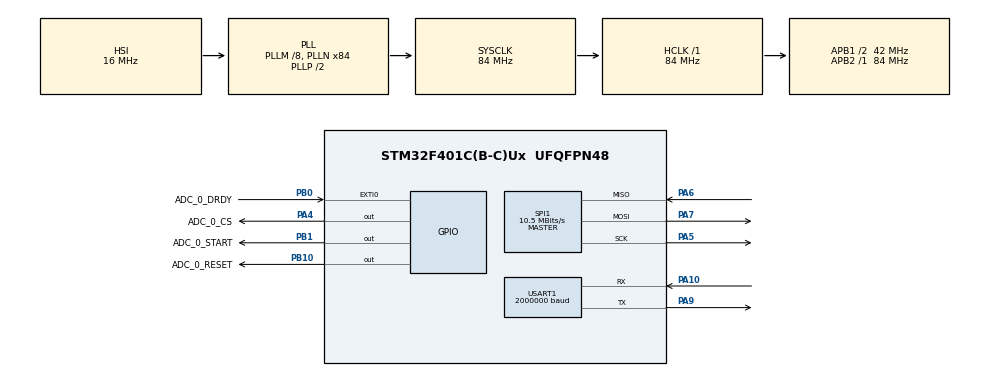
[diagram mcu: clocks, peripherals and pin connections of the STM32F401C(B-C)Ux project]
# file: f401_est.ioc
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Dma.Request0=USART1_RX
Dma.Request1=USART1_TX
Dma.USART1_RX.0.Direction=DMA_PERIPH_TO_MEMORY
Dma.USART1_RX.0.FIFOMode=DMA_FIFOMODE_DISABLE
Dma.USART1_RX.0.Instance=DMA2_Stream2
Dma.USART1_RX.0.MemDataAlignment=DMA_MDATAALIGN_BYTE
Dma.USART1_RX.0.MemInc=DMA_MINC_ENABLE
Dma.USART1_RX.0.Mode=DMA_CIRCULAR
Dma.USART1_RX.0.PeriphDataAlignment=DMA_PDATAALIGN_BYTE
Dma.USART1_RX.0.PeriphInc=DMA_PINC_DISABLE
Dma.USART1_RX.0.Priority=DMA_PRIORITY_LOW
Dma.USART1_TX.1.Direction=DMA_MEMORY_TO_PERIPH
Dma.USART1_TX.1.FIFOMode=DMA_FIFOMODE_DISABLE
Dma.USART1_TX.1.Instance=DMA2_Stream7
Dma.USART1_TX.1.MemDataAlignment=DMA_MDATAALIGN_BYTE
Dma.USART1_TX.1.MemInc=DMA_MINC_ENABLE
Dma.USART1_TX.1.Mode=DMA_NORMAL
Dma.USART1_TX.1.PeriphDataAlignment=DMA_PDATAALIGN_BYTE
Dma.USART1_TX.1.PeriphInc=DMA_PINC_DISABLE
Dma.USART1_TX.1.Priority=DMA_PRIORITY_LOW
Mcu.Family=STM32F4
Mcu.Name=STM32F401C(B-C)Ux
Mcu.Package=UFQFPN48
NVIC.DMA2_Stream2_IRQn=true\:0\:0\:false\:false\:true\:false
NVIC.DMA2_Stream7_IRQn=true\:0\:0\:false\:false\:true\:false
NVIC.EXTI0_IRQn=true\:0\:0\:false\:false\:true\:true
NVIC.PriorityGroup=NVIC_PRIORITYGROUP_4
NVIC.SPI1_IRQn=true\:0\:0\:false\:false\:true\:true
NVIC.USART1_IRQn=true\:0\:0\:false\:false\:true\:true
PA10.Mode=Asynchronous
PA10.Signal=USART1_RX
PA4.GPIO_Label=ADC_0_CS
PA4.PinState=GPIO_PIN_SET
PA4.Signal=GPIO_Output
PA5.Mode=Full_Duplex_Master
PA5.Signal=SPI1_SCK
PA6.Mode=Full_Duplex_Master
PA6.Signal=SPI1_MISO
PA7.Mode=Full_Duplex_Master
PA7.Signal=SPI1_MOSI
PA9.Mode=Asynchronous
PA9.Signal=USART1_TX
PB0.GPIO_Label=ADC_0_DRDY
PB0.GPIO_ModeDefaultEXTI=GPIO_MODE_IT_FALLING
PB0.GPIO_PuPd=GPIO_PULLUP
PB0.Signal=GPXTI0
PB1.GPIO_Label=ADC_0_START
PB1.Signal=GPIO_Output
PB10.GPIO_Label=ADC_0_RESET
PB10.PinState=GPIO_PIN_SET
PB10.Signal=GPIO_Output
ProjectManager.HeapSize=0x200
ProjectManager.StackSize=0x400
ProjectManager.TargetToolchain=MDK-ARM V5
RCC.48MHZClocksFreq_Value=42000000
RCC.AHBFreq_Value=84000000
RCC.APB1CLKDivider=RCC_HCLK_DIV2
RCC.APB1Freq_Value=42000000
RCC.APB1TimFreq_Value=84000000
RCC.APB2Freq_Value=84000000
RCC.APB2TimFreq_Value=84000000
RCC.CortexFreq_Value=84000000
RCC.HCLKFreq_Value=84000000
RCC.HSE_VALUE=25000000
RCC.HSI_VALUE=16000000
RCC.LSE_VALUE=32768
RCC.PLLM=8
RCC.PLLN=84
RCC.SYSCLKFreq_VALUE=84000000
RCC.SYSCLKSource=RCC_SYSCLKSOURCE_PLLCLK
RCC.VCOOutputFreq_Value=168000000
SPI1.BaudRatePrescaler=SPI_BAUDRATEPRESCALER_8
SPI1.CLKPhase=SPI_PHASE_2EDGE
SPI1.CalculateBaudRate=10.5 MBits/s
SPI1.Direction=SPI_DIRECTION_2LINES
SPI1.Mode=SPI_MODE_MASTER
SPI1.VirtualType=VM_MASTER
USART1.BaudRate=2000000
USART1.VirtualMode=VM_ASYNC
board=custom

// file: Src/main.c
/* USER CODE BEGIN Header */
/**
  ******************************************************************************
  * @file           : main.c
  * @brief          : Main program body
  ******************************************************************************
  ** This notice applies to any and all portions of this file
  * that are not between comment pairs USER CODE BEGIN and
  * USER CODE END. Other portions of this file, whether
  * inserted by the user or by software development tools
  * are owned by their respective copyright owners.
  *
  * COPYRIGHT(c) 2019 STMicroelectronics
  *
  * Redistribution and use in source and binary forms, with or without modification,
  * are permitted provided that the following conditions are met:
  *   1. Redistributions of source code must retain the above copyright notice,
  *      this list of conditions and the following disclaimer.
  *   2. Redistributions in binary form must reproduce the above copyright notice,
  *      this list of conditions and the following disclaimer in the documentation
  *      and/or other materials provided with the distribution.
  *   3. Neither the name of STMicroelectronics nor the names of its contributors
  *      may be used to endorse or promote products derived from this software
  *      without specific prior written permission.
  *
  * THIS SOFTWARE IS PROVIDED BY THE COPYRIGHT HOLDERS AND CONTRIBUTORS "AS IS"
  * AND ANY EXPRESS OR IMPLIED WARRANTIES, INCLUDING, BUT NOT LIMITED TO, THE
  * IMPLIED WARRANTIES OF MERCHANTABILITY AND FITNESS FOR A PARTICULAR PURPOSE ARE
  * DISCLAIMED. IN NO EVENT SHALL THE COPYRIGHT HOLDER OR CONTRIBUTORS BE LIABLE
  * FOR ANY DIRECT, INDIRECT, INCIDENTAL, SPECIAL, EXEMPLARY, OR CONSEQUENTIAL
  * DAMAGES (INCLUDING, BUT NOT LIMITED TO, PROCUREMENT OF SUBSTITUTE GOODS OR
  * SERVICES; LOSS OF USE, DATA, OR PROFITS; OR BUSINESS INTERRUPTION) HOWEVER
  * CAUSED AND ON ANY THEORY OF LIABILITY, WHETHER IN CONTRACT, STRICT LIABILITY,
  * OR TORT (INCLUDING NEGLIGENCE OR OTHERWISE) ARISING IN ANY WAY OUT OF THE USE
  * OF THIS SOFTWARE, EVEN IF ADVISED OF THE POSSIBILITY OF SUCH DAMAGE.
  *
  ******************************************************************************
  */
/* USER CODE END Header */

#include "main.h"
#include "dma.h"
#include "spi.h"
#include "usart.h"
#include "gpio.h"

/* USER CODE BEGIN Includes */
#include <string.h>

/* USER CODE END Includes */

/* USER CODE BEGIN PD */
#define delayUs(x) { unsigned int _dcnt; \
      _dcnt=(x*16); \
      while(_dcnt-- > 0) \
      { continue; }\
     }
#define CMD_BYTE 0x69 //0x69-24daolian  0xf9-18daolian
#define PKT_LENGTH 78
//1294 CONFIG
#define ADS1294_CS_L    		HAL_GPIO_WritePin(GPIOA, GPIO_PIN_4, GPIO_PIN_RESET)
#define ADS1294_CS_H    		HAL_GPIO_WritePin(GPIOA, GPIO_PIN_4, GPIO_PIN_SET)
#define ADS1294_START_L    	HAL_GPIO_WritePin(GPIOB, GPIO_PIN_1, GPIO_PIN_RESET)
#define ADS1294_START_H    	HAL_GPIO_WritePin(GPIOB, GPIO_PIN_1, GPIO_PIN_SET)
#define ADS1294_RESET_L    	HAL_GPIO_WritePin(GPIOB, GPIO_PIN_10, GPIO_PIN_RESET)
#define ADS1294_RESET_H    	HAL_GPIO_WritePin(GPIOB, GPIO_PIN_10, GPIO_PIN_SET)

#define RESET 	0x06
#define START   0x08
#define RDATAC	0x10
#define SDATAC	0x11
#define RDATA		0x12
#define RREG 0x20
#define WREG 0x40
#define ID_ADDR				0x00
#define CONFIG1_ADDR	0x01
#define CONFIG2_ADDR	0x02
#define CONFIG3_ADDR	0x03
#define LOFF					0x04
#define CONFIG4_ADDR	0x17
#define CH1SET_ADDR		0x05
#define LOFF_SENSP 		0x0F
#define LOFF_SENSN 		0x10
#define	GPIO_ADDR			0x14
#define MISC1_ADDR		0x15
#define MISC2_ADDR		0x16
#define ADC1_SRB1			0x20
#define ADC2_SRB1			0x20

#define RLD_SENSP     0x0D
#define RLD_SENSN			0x0E

/* USER CODE END PD */

/* USER CODE BEGIN PV */
uint32_t g_time_seq;
uint16_t g_seq;
uint8_t g_pkt_buf[PKT_LENGTH];
uint8_t adc1_data_ready=0;
uint8_t g_adc1_buf[64];
/* USER CODE END PV */

void SystemClock_Config(void);

/* USER CODE BEGIN 0 */
void sendDataTo_device(UART_HandleTypeDef *huart, uint8_t *buf, uint16_t len)
{
		HAL_UART_Transmit_DMA(huart, buf, len);
}

void __printf(UART_HandleTypeDef *huart, uint8_t *buf, uint16_t len)
{
	for(uint16_t i=0;i<len;i++)
	{
		while((huart->Instance->SR & UART_FLAG_TC)==0);//ѭ������,ֱ���������
		huart->Instance->DR = buf[i];
	}
}

void ADS1299_RESET()
{
	ADS1294_RESET_L;
	HAL_Delay(1);
	ADS1294_RESET_H;
}

uint8_t ADS1294_WRITE(uint8_t *tmp_TXData, uint8_t len)
{
		uint8_t ret=0;

		uint8_t tmp_RXData[20];
		ADS1294_CS_L;
		ret=HAL_SPI_TransmitReceive(&hspi1, tmp_TXData, tmp_RXData, len, 1000);
		ADS1294_CS_H;
		delayUs(50);

	return ret;
}

void ADS1294_Init()
{
		uint8_t tmp_TXData[20];

		//soft reset
		memset(tmp_TXData, 0, sizeof(tmp_TXData));
		tmp_TXData[0] = RESET;
		ADS1294_WRITE(tmp_TXData, 1);

		HAL_Delay(10);

		//sdatac command
		memset(tmp_TXData, 0, sizeof(tmp_TXData));
		tmp_TXData[0] = SDATAC;
		ADS1294_WRITE(tmp_TXData, 1);

#if 1
		//write config 1
		memset(tmp_TXData, 0, sizeof(tmp_TXData));
		tmp_TXData[0] = WREG|CONFIG1_ADDR;
		tmp_TXData[1] = 0x00;
		tmp_TXData[2] = 0x64;//0x64; //0x64-1k , 0x63-2k, 0x62-4k, 0x61-8k
		ADS1294_WRITE(tmp_TXData, 3);

		//write config 2
		memset(tmp_TXData, 0, sizeof(tmp_TXData));
		tmp_TXData[0] = WREG|CONFIG2_ADDR;
		tmp_TXData[1] = 0x00;
		tmp_TXData[2] = 0x10;
		ADS1294_WRITE(tmp_TXData, 3);

		//write config 3
		memset(tmp_TXData, 0, sizeof(tmp_TXData));
		tmp_TXData[0] = WREG|CONFIG3_ADDR;
		tmp_TXData[1] = 0x00;
		tmp_TXData[2] = 0xD6;//0x40; //0x60  0xc0
		ADS1294_WRITE(tmp_TXData, 3);

		//write LOFF
		memset(tmp_TXData, 0, sizeof(tmp_TXData));
		tmp_TXData[0] = WREG|LOFF;
		tmp_TXData[1] = 0x00;
		tmp_TXData[2] = 0x0D;//			??DC????
		ADS1294_WRITE(tmp_TXData, 3);

		//write LOFF_SENSP
		memset(tmp_TXData, 0, sizeof(tmp_TXData));
		tmp_TXData[0] = WREG|LOFF;
		tmp_TXData[1] = 0x00;
		tmp_TXData[2] = 0x01;//			??DC????
		ADS1294_WRITE(tmp_TXData, 3);

		//write LOFF_SENSN
		memset(tmp_TXData, 0, sizeof(tmp_TXData));
		tmp_TXData[0] = WREG|LOFF;
		tmp_TXData[1] = 0x00;
		tmp_TXData[2] = 0x01;//			??DC????
		ADS1294_WRITE(tmp_TXData, 3);

		//write config 4
		memset(tmp_TXData, 0, sizeof(tmp_TXData));
		tmp_TXData[0] = WREG|CONFIG4_ADDR;
		tmp_TXData[1] = 0x00;
		tmp_TXData[2] = 0x02; //SINGLE SHOT
		ADS1294_WRITE(tmp_TXData, 3);

		//write CHnSET
		memset(tmp_TXData, 0, sizeof(tmp_TXData));//0X00= normal input  0X01=SHORTED 0X02= RLD 0X0  0X03=MVDD
		tmp_TXData[0] = WREG|CH1SET_ADDR;
		tmp_TXData[1] = 0x63;

		tmp_TXData[2] = 0x00;    //1??????????
		tmp_TXData[3] = 0x01;		 //2????????
		tmp_TXData[4] = 0x02;		 //3????RLD??
		tmp_TXData[5] = 0x07;	   //4?? ??VREF-RLD
		ADS1294_WRITE(tmp_TXData, 6);

		memset(tmp_TXData, 0, sizeof(tmp_TXData));
		tmp_TXData[0] = WREG|RLD_SENSP;
		tmp_TXData[1] = 0x00;
		tmp_TXData[2] = 0x01; //SINGLE SHOT
		ADS1294_WRITE(tmp_TXData, 3);

		memset(tmp_TXData, 0, sizeof(tmp_TXData));
		tmp_TXData[0] = WREG|RLD_SENSN;
		tmp_TXData[1] = 0x00;
		tmp_TXData[2] = 0x01; //SINGLE SHOT
		ADS1294_WRITE(tmp_TXData, 3);

//		tmp_TXData[1] = 0x07;
//		tmp_TXData[2] = 0x00;
//		if(adc_num == 1)
//			tmp_TXData[6] = 0x04;
//			tmp_TXData[9] = 0x04; //stonemm   0x01  0x04??
//		ADC_WRITE(adc_num, tmp_TXData, 10);

		HAL_Delay(1);

	#endif
}

void ADS1294_PowerOnInit(void)
{
	//if(__DEBUG) printf_stone("read ADS1299 ID\r\n");
	uint8_t ret=0;
	uint8_t tmp_TXData[20],tmp_RXData[20];

	ADS1294_START_L;

	//hard reset
	ADS1299_RESET();

	HAL_Delay(100);

	//read adc ID
	ADS1294_Init();
	do{
		memset(tmp_TXData, 0, sizeof(tmp_TXData));
		tmp_TXData[0] = RREG|ID_ADDR;
		tmp_TXData[1] = 0x01;
		ADS1294_CS_L;
		ret=HAL_SPI_TransmitReceive(&hspi1, tmp_TXData, tmp_RXData, 4, 1000);
		ADS1294_CS_H;
		printf("ADS1294 ID = %02x %02x %02x %02x\r\n", tmp_RXData[0], tmp_RXData[1], tmp_RXData[2], tmp_RXData[3]);
		//printf("ret %d \r\n",ret);
		//HAL_Delay(100);
	}while(tmp_RXData[2]!=0x90);
	HAL_Delay(100);

	ADS1294_START_H; //bypass adc1

	//RDATAC
	memset(tmp_TXData, 0, sizeof(tmp_TXData));
	tmp_TXData[0] = RDATAC;
	ADS1294_WRITE(tmp_TXData, 1);
//	ADS1294_WRITE( tmp_TXData, 1);
}
/* USER CODE END 0 */

int main(void)
{

  /* MCU Configuration--------------------------------------------------------*/

  /* Reset of all peripherals, Initializes the Flash interface and the Systick. */
  HAL_Init();

  /* Configure the system clock */
  SystemClock_Config();

  /* Initialize all configured peripherals */
  MX_GPIO_Init();
  MX_DMA_Init();
  MX_USART1_UART_Init();
  MX_SPI1_Init();
  /* USER CODE BEGIN 2 */

	printf("f401 test 1\r\n");

	g_time_seq = 0;
	g_seq = 0;
	adc1_data_ready = 0;

	memset(g_adc1_buf, 0, sizeof(g_adc1_buf));
	//printf("1 \r\n");
	HAL_Delay(1);
	ADS1294_PowerOnInit();
	HAL_Delay(1);
	//printf("2 \r\n");
	//while(1){};

  /* USER CODE END 2 */

  /* Infinite loop */
  while (1)
  {

    /* USER CODE BEGIN 3 */
#if 0
		if(adc1_data_ready == 1)
		{
			memset(g_pkt_buf, 0, sizeof(g_pkt_buf));
			g_pkt_buf[0] = 0xFD;
			g_pkt_buf[1] = 0xA6;
			g_pkt_buf[2] = PKT_LENGTH; //pkt length, 8 daolian=30, 16 daolian=54, 24 daolian=78, 32 daolian=102
			g_pkt_buf[3] = 0x04; //1258
			g_pkt_buf[4] = CMD_BYTE; //cmd bit7-4 0000 1ch 0001 2ch, bit3 0 16bit 1 24bit, bit2-0 000-500hz 001-1khz 010-2khz

			g_pkt_buf[PKT_LENGTH-7] = 0x55; //DEV_ID
			g_time_seq++;
			g_pkt_buf[PKT_LENGTH-6] = g_time_seq>>24;
			g_pkt_buf[PKT_LENGTH-5] = g_time_seq>>16;
			g_pkt_buf[PKT_LENGTH-4] = g_time_seq>>8;
			g_pkt_buf[PKT_LENGTH-3] = g_time_seq;
			g_seq++;
			g_pkt_buf[PKT_LENGTH-2] = g_seq>>8;
			g_pkt_buf[PKT_LENGTH-1] = g_seq;
			//sendDataTo_device(&huart1, g_pkt_buf, PKT_LENGTH);
			__printf(&huart1, g_pkt_buf, PKT_LENGTH);

			adc1_data_ready = 0;
			//HAL_Delay(1);
		}
#else
		if(adc1_data_ready == 1)
		{
			memset(g_pkt_buf, 0, sizeof(g_pkt_buf));
			g_pkt_buf[0] = 0xFD;
			g_pkt_buf[1] = 0xA6;
			g_pkt_buf[2] = PKT_LENGTH; //pkt length, 8 daolian=30, 16 daolian=54, 24 daolian=78, 32 daolian=102
			g_pkt_buf[3] = 0x04; //1258
			g_pkt_buf[4] = CMD_BYTE; //cmd bit7-4 0000 1ch 0001 2ch, bit3 0 16bit 1 24bit, bit2-0 000-500hz 001-1khz 010-2khz

			memcpy(&g_pkt_buf[5], g_adc1_buf, 24);
			for(int i=0; i<8; i++)
			{
				g_pkt_buf[5+i*3] ^= 0x80;
			}

			g_pkt_buf[PKT_LENGTH-7] = 0x55; //DEV_ID
			g_time_seq++;
			g_pkt_buf[PKT_LENGTH-6] = g_time_seq>>24;
			g_pkt_buf[PKT_LENGTH-5] = g_time_seq>>16;
			g_pkt_buf[PKT_LENGTH-4] = g_time_seq>>8;
			g_pkt_buf[PKT_LENGTH-3] = g_time_seq;
			g_seq++;
			g_pkt_buf[PKT_LENGTH-2] = g_seq>>8;
			g_pkt_buf[PKT_LENGTH-1] = g_seq;
			//sendDataTo_device(&huart1, g_pkt_buf, PKT_LENGTH);
			__printf(&huart1, g_pkt_buf, PKT_LENGTH);

			adc1_data_ready = 0;
		}

#endif
  }
  /* USER CODE END 3 */
}

void SystemClock_Config(void)
{
  RCC_OscInitTypeDef RCC_OscInitStruct = {0};
  RCC_ClkInitTypeDef RCC_ClkInitStruct = {0};

  /**Configure the main internal regulator output voltage
  */
  __HAL_RCC_PWR_CLK_ENABLE();
  __HAL_PWR_VOLTAGESCALING_CONFIG(PWR_REGULATOR_VOLTAGE_SCALE2);
  /**Initializes the CPU, AHB and APB busses clocks
  */
  RCC_OscInitStruct.OscillatorType = RCC_OSCILLATORTYPE_HSI;
  RCC_OscInitStruct.HSIState = RCC_HSI_ON;
  RCC_OscInitStruct.HSICalibrationValue = RCC_HSICALIBRATION_DEFAULT;
  RCC_OscInitStruct.PLL.PLLState = RCC_PLL_ON;
  RCC_OscInitStruct.PLL.PLLSource = RCC_PLLSOURCE_HSI;
  RCC_OscInitStruct.PLL.PLLM = 8;
  RCC_OscInitStruct.PLL.PLLN = 84;
  RCC_OscInitStruct.PLL.PLLP = RCC_PLLP_DIV2;
  RCC_OscInitStruct.PLL.PLLQ = 4;
  if (HAL_RCC_OscConfig(&RCC_OscInitStruct) != HAL_OK)
  {
    Error_Handler();
  }
  /**Initializes the CPU, AHB and APB busses clocks
  */
  RCC_ClkInitStruct.ClockType = RCC_CLOCKTYPE_HCLK|RCC_CLOCKTYPE_SYSCLK
                              |RCC_CLOCKTYPE_PCLK1|RCC_CLOCKTYPE_PCLK2;
  RCC_ClkInitStruct.SYSCLKSource = RCC_SYSCLKSOURCE_PLLCLK;
  RCC_ClkInitStruct.AHBCLKDivider = RCC_SYSCLK_DIV1;
  RCC_ClkInitStruct.APB1CLKDivider = RCC_HCLK_DIV2;
  RCC_ClkInitStruct.APB2CLKDivider = RCC_HCLK_DIV1;

  if (HAL_RCC_ClockConfig(&RCC_ClkInitStruct, FLASH_LATENCY_2) != HAL_OK)
  {
    Error_Handler();
  }
}

/* USER CODE BEGIN 4 */
void HAL_GPIO_EXTI_Callback(uint16_t GPIO_Pin)
{
	uint8_t tmp_TXData_1[64],tmp_RXData_1[64];

	memset(tmp_TXData_1, 0, sizeof(tmp_TXData_1));

		//AD2 READY
	if(GPIO_Pin == GPIO_PIN_0)
  {
		if(adc1_data_ready == 0)
		{
			memset(g_adc1_buf, 0, sizeof(g_adc1_buf));
			memset(tmp_RXData_1, 0, sizeof(tmp_RXData_1));
			ADS1294_CS_L;
			HAL_SPI_TransmitReceive(&hspi1, tmp_TXData_1, tmp_RXData_1, 27, 1000);
			ADS1294_CS_H;
			//memcpy(&g_pkt_buf[29], &tmp_RXData[3], 24);
			memcpy(g_adc1_buf, &tmp_RXData_1[3], 24);
			adc1_data_ready = 1;
		}
	}

}
/* USER CODE END 4 */

void Error_Handler(void)
{
}

/************************ (C) COPYRIGHT STMicroelectronics *****END OF FILE****/
